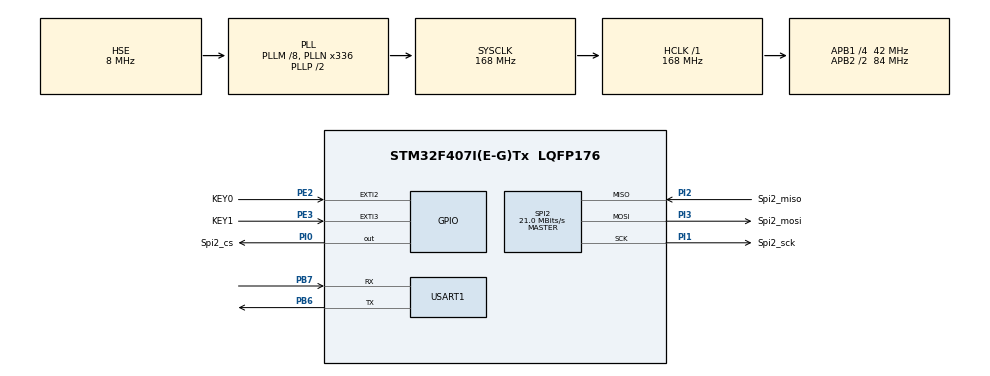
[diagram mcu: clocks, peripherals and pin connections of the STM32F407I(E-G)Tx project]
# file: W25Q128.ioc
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Mcu.Family=STM32F4
Mcu.Name=STM32F407I(E-G)Tx
Mcu.Package=LQFP176
NVIC.EXTI2_IRQn=true\:1\:0\:true\:false\:true\:true
NVIC.EXTI3_IRQn=true\:1\:0\:true\:false\:true\:true
NVIC.PriorityGroup=NVIC_PRIORITYGROUP_2
PA13.Mode=Serial_Wire
PA13.Signal=SYS_JTMS-SWDIO
PA14.Mode=Serial_Wire
PA14.Signal=SYS_JTCK-SWCLK
PB6.Mode=Asynchronous
PB6.Signal=USART1_TX
PB7.Mode=Asynchronous
PB7.Signal=USART1_RX
PE2.GPIO_Label=KEY0
PE2.GPIO_ModeDefaultEXTI=GPIO_MODE_IT_RISING_FALLING
PE2.GPIO_PuPd=GPIO_PULLUP
PE2.Signal=GPXTI2
PE3.GPIO_Label=KEY1
PE3.GPIO_ModeDefaultEXTI=GPIO_MODE_IT_RISING_FALLING
PE3.GPIO_PuPd=GPIO_PULLUP
PE3.Signal=GPXTI3
PH0-OSC_IN.Mode=HSE-External-Oscillator
PH0-OSC_IN.Signal=RCC_OSC_IN
PH1-OSC_OUT.Mode=HSE-External-Oscillator
PH1-OSC_OUT.Signal=RCC_OSC_OUT
PI0.GPIO_Label=Spi2_cs
PI0.GPIO_PuPd=GPIO_PULLUP
PI0.GPIO_Speed=GPIO_SPEED_FREQ_HIGH
PI0.PinState=GPIO_PIN_SET
PI0.Signal=GPIO_Output
PI1.GPIO_Label=Spi2_sck
PI1.GPIO_PuPd=GPIO_PULLUP
PI1.Mode=Full_Duplex_Master
PI1.Signal=SPI2_SCK
PI2.GPIO_Label=Spi2_miso
PI2.GPIO_PuPd=GPIO_PULLUP
PI2.Mode=Full_Duplex_Master
PI2.Signal=SPI2_MISO
PI3.GPIO_Label=Spi2_mosi
PI3.GPIO_PuPd=GPIO_PULLUP
PI3.Mode=Full_Duplex_Master
PI3.Signal=SPI2_MOSI
ProjectManager.HeapSize=0x200
ProjectManager.StackSize=0x400
ProjectManager.TargetToolchain=MDK-ARM V5
RCC.48MHZClocksFreq_Value=84000000
RCC.AHBFreq_Value=168000000
RCC.APB1CLKDivider=RCC_HCLK_DIV4
RCC.APB1Freq_Value=42000000
RCC.APB1TimFreq_Value=84000000
RCC.APB2CLKDivider=RCC_HCLK_DIV2
RCC.APB2Freq_Value=84000000
RCC.APB2TimFreq_Value=168000000
RCC.CortexFreq_Value=168000000
RCC.HCLKFreq_Value=168000000
RCC.HSE_VALUE=8000000
RCC.HSI_VALUE=16000000
RCC.LSE_VALUE=32768
RCC.PLLM=8
RCC.PLLN=336
RCC.PLLSourceVirtual=RCC_PLLSOURCE_HSE
RCC.SYSCLKFreq_VALUE=168000000
RCC.SYSCLKSource=RCC_SYSCLKSOURCE_PLLCLK
RCC.VCOOutputFreq_Value=336000000
SPI2.CalculateBaudRate=21.0 MBits/s
SPI2.Direction=SPI_DIRECTION_2LINES
SPI2.Mode=SPI_MODE_MASTER
SPI2.VirtualType=VM_MASTER
USART1.VirtualMode=VM_ASYNC
board=W25Q128

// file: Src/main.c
/**
  ******************************************************************************
  * @file           : main.c
  * @brief          : Main program body
  ******************************************************************************
  ** This notice applies to any and all portions of this file
  * that are not between comment pairs USER CODE BEGIN and
  * USER CODE END. Other portions of this file, whether
  * inserted by the user or by software development tools
  * are owned by their respective copyright owners.
  *
  * COPYRIGHT(c) 2024 STMicroelectronics
  *
  * Redistribution and use in source and binary forms, with or without modification,
  * are permitted provided that the following conditions are met:
  *   1. Redistributions of source code must retain the above copyright notice,
  *      this list of conditions and the following disclaimer.
  *   2. Redistributions in binary form must reproduce the above copyright notice,
  *      this list of conditions and the following disclaimer in the documentation
  *      and/or other materials provided with the distribution.
  *   3. Neither the name of STMicroelectronics nor the names of its contributors
  *      may be used to endorse or promote products derived from this software
  *      without specific prior written permission.
  *
  * THIS SOFTWARE IS PROVIDED BY THE COPYRIGHT HOLDERS AND CONTRIBUTORS "AS IS"
  * AND ANY EXPRESS OR IMPLIED WARRANTIES, INCLUDING, BUT NOT LIMITED TO, THE
  * IMPLIED WARRANTIES OF MERCHANTABILITY AND FITNESS FOR A PARTICULAR PURPOSE ARE
  * DISCLAIMED. IN NO EVENT SHALL THE COPYRIGHT HOLDER OR CONTRIBUTORS BE LIABLE
  * FOR ANY DIRECT, INDIRECT, INCIDENTAL, SPECIAL, EXEMPLARY, OR CONSEQUENTIAL
  * DAMAGES (INCLUDING, BUT NOT LIMITED TO, PROCUREMENT OF SUBSTITUTE GOODS OR
  * SERVICES; LOSS OF USE, DATA, OR PROFITS; OR BUSINESS INTERRUPTION) HOWEVER
  * CAUSED AND ON ANY THEORY OF LIABILITY, WHETHER IN CONTRACT, STRICT LIABILITY,
  * OR TORT (INCLUDING NEGLIGENCE OR OTHERWISE) ARISING IN ANY WAY OUT OF THE USE
  * OF THIS SOFTWARE, EVEN IF ADVISED OF THE POSSIBILITY OF SUCH DAMAGE.
  *
  ******************************************************************************
  */
#include "main.h"
#include "stm32f4xx_hal.h"

/* USER CODE BEGIN Includes */
#include "norflash.h"
/* USER CODE END Includes */

SPI_HandleTypeDef hspi2;

UART_HandleTypeDef huart1;

/* USER CODE BEGIN PV */
/* Private variables ---------------------------------------------------------*/
const uint8_t g_text_buf[] = {"STM32 SPI TEST"}; /* 要写到FLASH的字符串数组 */
#define TEXT_SIZE sizeof(g_text_buf) /* TEXT字符串长度 */
uint8_t datatemp[TEXT_SIZE];
uint32_t flashsize = 16 * 1024 * 1024; /* FLASH 大小为16M字节 */;

/* USER CODE END PV */

void SystemClock_Config(void);
static void MX_GPIO_Init(void);
static void MX_USART1_UART_Init(void);
static void MX_SPI2_Init(void);

/* USER CODE BEGIN PFP */
/* Private function prototypes -----------------------------------------------*/

/* USER CODE END PFP */

/* USER CODE BEGIN 0 */
int fputc(int ch, FILE *p)
{
    while(!(USART1->SR & (1<<7)));
    USART1->DR = ch;
    return ch;
}
/* USER CODE END 0 */

int main(void)
{

  /* MCU Configuration----------------------------------------------------------*/

  /* Reset of all peripherals, Initializes the Flash interface and the Systick. */
  HAL_Init();

  /* Configure the system clock */
  SystemClock_Config();

  /* Initialize all configured peripherals */
  MX_GPIO_Init();
  MX_USART1_UART_Init();
  MX_SPI2_Init();
  /* USER CODE BEGIN 2 */
	norflash_init();  //初始化norflash
	uint16_t id = norflash_read_id();
	printf("norflash id is %d\n", id);
	sprintf((char *)datatemp, "%s", (char *)g_text_buf);
  /* USER CODE END 2 */

  /* Infinite loop */
  /* USER CODE BEGIN WHILE */
  while (1)
  {
		while ((id == 0) || (id == 0xFFFF)) /* 检测不到FLASH芯片 */ {
			printf("FLASH Check Failed!\n");
			HAL_Delay(500);
			printf("Please Check! \n");
			HAL_Delay(500);
		}

  /* USER CODE END WHILE */

  }

}

void SystemClock_Config(void)
{

  RCC_OscInitTypeDef RCC_OscInitStruct;
  RCC_ClkInitTypeDef RCC_ClkInitStruct;

    /**Configure the main internal regulator output voltage
    */
  __HAL_RCC_PWR_CLK_ENABLE();

  __HAL_PWR_VOLTAGESCALING_CONFIG(PWR_REGULATOR_VOLTAGE_SCALE1);

    /**Initializes the CPU, AHB and APB busses clocks
    */
  RCC_OscInitStruct.OscillatorType = RCC_OSCILLATORTYPE_HSE;
  RCC_OscInitStruct.HSEState = RCC_HSE_ON;
  RCC_OscInitStruct.PLL.PLLState = RCC_PLL_ON;
  RCC_OscInitStruct.PLL.PLLSource = RCC_PLLSOURCE_HSE;
  RCC_OscInitStruct.PLL.PLLM = 8;
  RCC_OscInitStruct.PLL.PLLN = 336;
  RCC_OscInitStruct.PLL.PLLP = RCC_PLLP_DIV2;
  RCC_OscInitStruct.PLL.PLLQ = 4;
  if (HAL_RCC_OscConfig(&RCC_OscInitStruct) != HAL_OK)
  {
    _Error_Handler(__FILE__, __LINE__);
  }

    /**Initializes the CPU, AHB and APB busses clocks
    */
  RCC_ClkInitStruct.ClockType = RCC_CLOCKTYPE_HCLK|RCC_CLOCKTYPE_SYSCLK
                              |RCC_CLOCKTYPE_PCLK1|RCC_CLOCKTYPE_PCLK2;
  RCC_ClkInitStruct.SYSCLKSource = RCC_SYSCLKSOURCE_PLLCLK;
  RCC_ClkInitStruct.AHBCLKDivider = RCC_SYSCLK_DIV1;
  RCC_ClkInitStruct.APB1CLKDivider = RCC_HCLK_DIV4;
  RCC_ClkInitStruct.APB2CLKDivider = RCC_HCLK_DIV2;

  if (HAL_RCC_ClockConfig(&RCC_ClkInitStruct, FLASH_LATENCY_5) != HAL_OK)
  {
    _Error_Handler(__FILE__, __LINE__);
  }

    /**Configure the Systick interrupt time
    */
  HAL_SYSTICK_Config(HAL_RCC_GetHCLKFreq()/1000);

    /**Configure the Systick
    */
  HAL_SYSTICK_CLKSourceConfig(SYSTICK_CLKSOURCE_HCLK);

  /* SysTick_IRQn interrupt configuration */
  HAL_NVIC_SetPriority(SysTick_IRQn, 0, 0);
}

/* SPI2 init function */
static void MX_SPI2_Init(void)
{

  /* SPI2 parameter configuration*/
  hspi2.Instance = SPI2;
  hspi2.Init.Mode = SPI_MODE_MASTER;
  hspi2.Init.Direction = SPI_DIRECTION_2LINES;
  hspi2.Init.DataSize = SPI_DATASIZE_8BIT;
  hspi2.Init.CLKPolarity = SPI_POLARITY_LOW;
  hspi2.Init.CLKPhase = SPI_PHASE_1EDGE;
  hspi2.Init.NSS = SPI_NSS_SOFT;
  hspi2.Init.BaudRatePrescaler = SPI_BAUDRATEPRESCALER_2;
  hspi2.Init.FirstBit = SPI_FIRSTBIT_MSB;
  hspi2.Init.TIMode = SPI_TIMODE_DISABLE;
  hspi2.Init.CRCCalculation = SPI_CRCCALCULATION_DISABLE;
  hspi2.Init.CRCPolynomial = 10;
  if (HAL_SPI_Init(&hspi2) != HAL_OK)
  {
    _Error_Handler(__FILE__, __LINE__);
  }

}

/* USART1 init function */
static void MX_USART1_UART_Init(void)
{

  huart1.Instance = USART1;
  huart1.Init.BaudRate = 115200;
  huart1.Init.WordLength = UART_WORDLENGTH_8B;
  huart1.Init.StopBits = UART_STOPBITS_1;
  huart1.Init.Parity = UART_PARITY_NONE;
  huart1.Init.Mode = UART_MODE_TX_RX;
  huart1.Init.HwFlowCtl = UART_HWCONTROL_NONE;
  huart1.Init.OverSampling = UART_OVERSAMPLING_16;
  if (HAL_UART_Init(&huart1) != HAL_OK)
  {
    _Error_Handler(__FILE__, __LINE__);
  }

}

/** Configure pins as
        * Analog
        * Input
        * Output
        * EVENT_OUT
        * EXTI
*/
static void MX_GPIO_Init(void)
{

  GPIO_InitTypeDef GPIO_InitStruct;

  /* GPIO Ports Clock Enable */
  __HAL_RCC_GPIOE_CLK_ENABLE();
  __HAL_RCC_GPIOH_CLK_ENABLE();
  __HAL_RCC_GPIOA_CLK_ENABLE();
  __HAL_RCC_GPIOI_CLK_ENABLE();
  __HAL_RCC_GPIOB_CLK_ENABLE();

  /*Configure GPIO pin Output Level */
  HAL_GPIO_WritePin(Spi2_cs_GPIO_Port, Spi2_cs_Pin, GPIO_PIN_SET);

  /*Configure GPIO pins : KEY0_Pin KEY1_Pin */
  GPIO_InitStruct.Pin = KEY0_Pin|KEY1_Pin;
  GPIO_InitStruct.Mode = GPIO_MODE_IT_RISING_FALLING;
  GPIO_InitStruct.Pull = GPIO_PULLUP;
  HAL_GPIO_Init(GPIOE, &GPIO_InitStruct);

  /*Configure GPIO pin : Spi2_cs_Pin */
  GPIO_InitStruct.Pin = Spi2_cs_Pin;
  GPIO_InitStruct.Mode = GPIO_MODE_OUTPUT_PP;
  GPIO_InitStruct.Pull = GPIO_PULLUP;
  GPIO_InitStruct.Speed = GPIO_SPEED_FREQ_HIGH;
  HAL_GPIO_Init(Spi2_cs_GPIO_Port, &GPIO_InitStruct);

  /* EXTI interrupt init*/
  HAL_NVIC_SetPriority(EXTI2_IRQn, 1, 0);
  HAL_NVIC_EnableIRQ(EXTI2_IRQn);

  HAL_NVIC_SetPriority(EXTI3_IRQn, 1, 0);
  HAL_NVIC_EnableIRQ(EXTI3_IRQn);

}

/* USER CODE BEGIN 4 */
void HAL_GPIO_EXTI_Callback(uint16_t GPIO_Pin)  //按键中断处理函数
{
    if(GPIO_Pin == KEY0_Pin)
    {
      //KEY0是否按下
			if(GPIO_PIN_RESET == HAL_GPIO_ReadPin(KEY0_GPIO_Port, KEY0_Pin)){
				HAL_Delay(20);  //去抖动
				if(GPIO_PIN_RESET == HAL_GPIO_ReadPin(KEY0_GPIO_Port, KEY0_Pin)){
					printf("KEY0 press,start write W25Q128! \n");
					norflash_write((uint8_t *)datatemp, flashsize - 100, TEXT_SIZE);  /* 从倒数第100个地址处开始,写入SIZE长度的数据 */
					printf("write W25Q128 finished! \n");
				}
			}
    }
		if(GPIO_Pin == KEY1_Pin)
    {
      //KEY0是否按下
			if(GPIO_PIN_RESET == HAL_GPIO_ReadPin(KEY1_GPIO_Port, KEY1_Pin)){
				HAL_Delay(20);  //去抖动
				if(GPIO_PIN_RESET == HAL_GPIO_ReadPin(KEY1_GPIO_Port, KEY1_Pin)){
					printf("KEY1 press,start read W25Q128!\n");  /* 从倒数第100个地址处开始,读出SIZE个字节 */
					norflash_read(datatemp, flashsize - 100, TEXT_SIZE);
					printf("read something like: %s\n", (char *)datatemp);
				}
			}
    }
}
/* USER CODE END 4 */

void _Error_Handler(char *file, int line)
{
  while(1)
  {
  }
}

/************************ (C) COPYRIGHT STMicroelectronics *****END OF FILE****/
